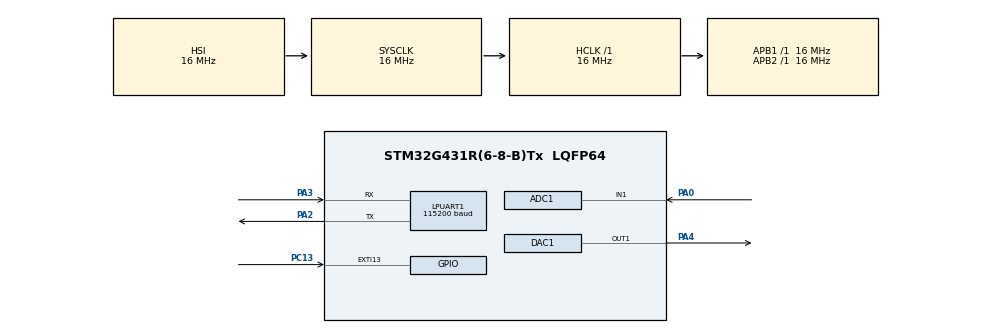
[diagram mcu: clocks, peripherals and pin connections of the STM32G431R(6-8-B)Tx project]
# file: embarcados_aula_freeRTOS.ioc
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ADC1.Channel-0\#ChannelRegularConversion=ADC_CHANNEL_1
ADC1.DMAContinuousRequests=ENABLE
ADC1.ExternalTrigConv=ADC_EXTERNALTRIG_T3_TRGO
ADC1.NbrOfConversionFlag=1
ADC1.OffsetNumber-0\#ChannelRegularConversion=ADC_OFFSET_NONE
ADC1.Rank-0\#ChannelRegularConversion=1
ADC1.SamplingTime-0\#ChannelRegularConversion=ADC_SAMPLETIME_2CYCLES_5
ADC1.master=1
DAC1.DAC_Trigger_OUT1-DAC_OUT1_ExtAndInt=DAC_TRIGGER_T2_TRGO
Dma.ADC1.0.Direction=DMA_PERIPH_TO_MEMORY
Dma.ADC1.0.EventEnable=DISABLE
Dma.ADC1.0.Instance=DMA1_Channel1
Dma.ADC1.0.MemDataAlignment=DMA_MDATAALIGN_HALFWORD
Dma.ADC1.0.MemInc=DMA_MINC_ENABLE
Dma.ADC1.0.Mode=DMA_CIRCULAR
Dma.ADC1.0.PeriphDataAlignment=DMA_PDATAALIGN_HALFWORD
Dma.ADC1.0.PeriphInc=DMA_PINC_DISABLE
Dma.ADC1.0.Polarity=HAL_DMAMUX_REQ_GEN_RISING
Dma.ADC1.0.Priority=DMA_PRIORITY_LOW
Dma.ADC1.0.RequestNumber=1
Dma.ADC1.0.SignalID=NONE
Dma.ADC1.0.SyncEnable=DISABLE
Dma.ADC1.0.SyncPolarity=HAL_DMAMUX_SYNC_NO_EVENT
Dma.ADC1.0.SyncRequestNumber=1
Dma.ADC1.0.SyncSignalID=NONE
Dma.DAC1_CH1.1.Direction=DMA_MEMORY_TO_PERIPH
Dma.DAC1_CH1.1.EventEnable=DISABLE
Dma.DAC1_CH1.1.Instance=DMA2_Channel2
Dma.DAC1_CH1.1.MemDataAlignment=DMA_MDATAALIGN_HALFWORD
Dma.DAC1_CH1.1.MemInc=DMA_MINC_ENABLE
Dma.DAC1_CH1.1.Mode=DMA_CIRCULAR
Dma.DAC1_CH1.1.PeriphDataAlignment=DMA_PDATAALIGN_WORD
Dma.DAC1_CH1.1.PeriphInc=DMA_PINC_DISABLE
Dma.DAC1_CH1.1.Polarity=HAL_DMAMUX_REQ_GEN_RISING
Dma.DAC1_CH1.1.Priority=DMA_PRIORITY_LOW
Dma.DAC1_CH1.1.RequestNumber=1
Dma.DAC1_CH1.1.SignalID=NONE
Dma.DAC1_CH1.1.SyncEnable=DISABLE
Dma.DAC1_CH1.1.SyncPolarity=HAL_DMAMUX_SYNC_NO_EVENT
Dma.DAC1_CH1.1.SyncRequestNumber=1
Dma.DAC1_CH1.1.SyncSignalID=NONE
Dma.LPUART1_TX.2.Direction=DMA_MEMORY_TO_PERIPH
Dma.LPUART1_TX.2.EventEnable=DISABLE
Dma.LPUART1_TX.2.Instance=DMA1_Channel2
Dma.LPUART1_TX.2.MemDataAlignment=DMA_MDATAALIGN_BYTE
Dma.LPUART1_TX.2.MemInc=DMA_MINC_ENABLE
Dma.LPUART1_TX.2.Mode=DMA_NORMAL
Dma.LPUART1_TX.2.PeriphDataAlignment=DMA_PDATAALIGN_BYTE
Dma.LPUART1_TX.2.PeriphInc=DMA_PINC_DISABLE
Dma.LPUART1_TX.2.Polarity=HAL_DMAMUX_REQ_GEN_RISING
Dma.LPUART1_TX.2.Priority=DMA_PRIORITY_LOW
Dma.LPUART1_TX.2.RequestNumber=1
Dma.LPUART1_TX.2.SignalID=NONE
Dma.LPUART1_TX.2.SyncEnable=DISABLE
Dma.LPUART1_TX.2.SyncPolarity=HAL_DMAMUX_SYNC_NO_EVENT
Dma.LPUART1_TX.2.SyncRequestNumber=1
Dma.LPUART1_TX.2.SyncSignalID=NONE
Dma.Request0=ADC1
Dma.Request1=DAC1_CH1
Dma.Request2=LPUART1_TX
FREERTOS.Tasks01=defaultTask,0,256,StartDefaultTask,Default,NULL,Dynamic,NULL,NULL
FREERTOS.configENABLE_FPU=1
FREERTOS.configGENERATE_RUN_TIME_STATS=1
FREERTOS.configMAX_TASK_NAME_LEN=32
FREERTOS.configMINIMAL_STACK_SIZE=256
FREERTOS.configTOTAL_HEAP_SIZE=26000
FREERTOS.configUSE_NEWLIB_REENTRANT=1
FREERTOS.configUSE_STATS_FORMATTING_FUNCTIONS=1
FREERTOS.configUSE_TIMERS=1
FREERTOS.configUSE_TRACE_FACILITY=1
LPUART1.BaudRate=115200
Mcu.Family=STM32G4
Mcu.Name=STM32G431R(6-8-B)Tx
Mcu.Package=LQFP64
NVIC.DMA1_Channel1_IRQn=true\:5\:0\:false\:false\:true\:true\:false\:true\:true
NVIC.DMA1_Channel2_IRQn=true\:5\:0\:false\:false\:true\:true\:false\:true\:true
NVIC.DMA2_Channel2_IRQn=true\:5\:0\:false\:false\:true\:false\:false\:true\:true
NVIC.EXTI15_10_IRQn=true\:5\:0\:false\:false\:true\:true\:true\:true\:true
NVIC.LPUART1_IRQn=true\:5\:0\:false\:false\:true\:true\:true\:true\:true
NVIC.PriorityGroup=NVIC_PRIORITYGROUP_4
NVIC.TIM1_UP_TIM16_IRQn=true\:15\:0\:false\:false\:true\:false\:false\:true\:true
NVIC.TIM4_IRQn=true\:5\:0\:false\:false\:true\:true\:true\:true\:true
NVIC.TimeBase=TIM1_UP_TIM16_IRQn
NVIC.TimeBaseIP=TIM1
PA0.Mode=IN1-Single-Ended
PA0.Signal=ADC1_IN1
PA13.Mode=Serial_Wire
PA13.Signal=SYS_JTMS-SWDIO
PA14.Mode=Serial_Wire
PA14.Signal=SYS_JTCK-SWCLK
PA2.Mode=Asynchronous
PA2.Signal=LPUART1_TX
PA3.Mode=Asynchronous
PA3.Signal=LPUART1_RX
PA4.Signal=COMP_DAC11_group
PC13.GPIO_ModeDefaultEXTI=GPIO_MODE_IT_FALLING
PC13.GPIO_PuPd=GPIO_PULLUP
PC13.Signal=GPXTI13
ProjectManager.HeapSize=0x200
ProjectManager.StackSize=0x400
ProjectManager.TargetToolchain=STM32CubeIDE
RCC.AHBFreq_Value=16000000
RCC.APB1Freq_Value=16000000
RCC.APB1TimFreq_Value=16000000
RCC.APB2Freq_Value=16000000
RCC.APB2TimFreq_Value=16000000
RCC.CortexFreq_Value=16000000
RCC.EXTERNAL_CLOCK_VALUE=12288000
RCC.HCLKFreq_Value=16000000
RCC.HSE_VALUE=8000000
RCC.HSI48_VALUE=48000000
RCC.HSI_VALUE=16000000
RCC.LSE_VALUE=32768
RCC.SYSCLKFreq_VALUE=16000000
RCC.USBFreq_Value=64000000
RCC.VCOOutputFreq_Value=128000000
SH.COMP_DAC11_group.0=DAC1_OUT1,DAC_OUT1_ExtAndInt
TIM2.AutoReloadPreload=TIM_AUTORELOAD_PRELOAD_ENABLE
TIM2.PeriodNoDither=11067
TIM2.TIM_MasterOutputTrigger=TIM_TRGO_UPDATE
TIM3.AutoReloadPreload=TIM_AUTORELOAD_PRELOAD_ENABLE
TIM3.PeriodNoDither=11067
TIM3.TIM_MasterOutputTrigger=TIM_TRGO_UPDATE
TIM4.AutoReloadPreload=TIM_AUTORELOAD_PRELOAD_ENABLE
TIM4.PeriodNoDither=16999
TIM4.TIM_MasterOutputTrigger=TIM_TRGO_UPDATE
VP_FREERTOS_VS_CMSIS_V1.Mode=CMSIS_V1
VP_SYS_VS_DBSignals.Mode=DisableDeadBatterySignals
VP_SYS_VS_tim1.Mode=TIM1
VP_TIM2_VS_ClockSourceINT.Mode=Internal
VP_TIM3_VS_ClockSourceINT.Mode=Internal
VP_TIM4_VS_ClockSourceINT.Mode=Internal
board=custom

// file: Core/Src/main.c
/* USER CODE BEGIN Header */
/**
 ******************************************************************************
 * @file           : main.c
 * @brief          : Main program body
 ******************************************************************************
 * @attention
 *
 * Copyright (c) 2024 STMicroelectronics.
 * All rights reserved.
 *
 * This software is licensed under terms that can be found in the LICENSE file
 * in the root directory of this software component.
 * If no LICENSE file comes with this software, it is provided AS-IS.
 *
 ******************************************************************************
 */
/* USER CODE END Header */
#include "main.h"
#include "cmsis_os.h"

/* USER CODE BEGIN Includes */
#include "FreeRTOS_CLI.h"
#include "arm_const_structs.h"
#include "cmsis_os.h"
#include "main.h"
#include "message_buffer.h"

/* USER CODE END Includes */

ADC_HandleTypeDef hadc1;
DMA_HandleTypeDef hdma_adc1;

DAC_HandleTypeDef hdac1;
DMA_HandleTypeDef hdma_dac1_ch1;

UART_HandleTypeDef hlpuart1;
DMA_HandleTypeDef hdma_lpuart1_tx;

TIM_HandleTypeDef htim2;
TIM_HandleTypeDef htim3;
TIM_HandleTypeDef htim4;

osThreadId defaultTaskHandle;
/* USER CODE BEGIN PV */

SemaphoreHandle_t mutex_uart;
MessageBufferHandle_t message_buffer;
SemaphoreHandle_t sem_tx_uart;
SemaphoreHandle_t sem_adc;
QueueHandle_t uart_rx_q;
QueueHandle_t button_rx_q;
TimerHandle_t button_timer;

uint16_t sin_wave[256] = {
    2048, 2098, 2148, 2199, 2249, 2299, 2349, 2399, 2448, 2498, 2547, 2596,
    2644, 2692, 2740, 2787, 2834, 2880, 2926, 2971, 3016, 3060, 3104, 3147,
    3189, 3230, 3271, 3311, 3351, 3389, 3427, 3464, 3500, 3535, 3569, 3602,
    3635, 3666, 3697, 3726, 3754, 3782, 3808, 3833, 3857, 3880, 3902, 3923,
    3943, 3961, 3979, 3995, 4010, 4024, 4036, 4048, 4058, 4067, 4074, 4081,
    4086, 4090, 4093, 4095, 4095, 4094, 4092, 4088, 4084, 4078, 4071, 4062,
    4053, 4042, 4030, 4017, 4002, 3987, 3970, 3952, 3933, 3913, 3891, 3869,
    3845, 3821, 3795, 3768, 3740, 3711, 3681, 3651, 3619, 3586, 3552, 3517,
    3482, 3445, 3408, 3370, 3331, 3291, 3251, 3210, 3168, 3125, 3082, 3038,
    2994, 2949, 2903, 2857, 2811, 2764, 2716, 2668, 2620, 2571, 2522, 2473,
    2424, 2374, 2324, 2274, 2224, 2174, 2123, 2073, 2022, 1972, 1921, 1871,
    1821, 1771, 1721, 1671, 1622, 1573, 1524, 1475, 1427, 1379, 1331, 1284,
    1238, 1192, 1146, 1101, 1057, 1013, 970,  927,  885,  844,  804,  764,
    725,  687,  650,  613,  578,  543,  509,  476,  444,  414,  384,  355,
    327,  300,  274,  250,  226,  204,  182,  162,  143,  125,  108,  93,
    78,   65,   53,   42,   33,   24,   17,   11,   7,    3,    1,    0,
    0,    2,    5,    9,    14,   21,   28,   37,   47,   59,   71,   85,
    100,  116,  134,  152,  172,  193,  215,  238,  262,  287,  313,  341,
    369,  398,  429,  460,  493,  526,  560,  595,  631,  668,  706,  744,
    784,  824,  865,  906,  948,  991,  1035, 1079, 1124, 1169, 1215, 1261,
    1308, 1355, 1403, 1451, 1499, 1548, 1597, 1647, 1696, 1746, 1796, 1846,
    1896, 1947, 1997, 2047};

uint16_t sin_wave_3rd_harmonic[256] = {
    2048, 2136, 2224, 2311, 2398, 2484, 2569, 2652, 2734, 2814, 2892, 2968,
    3041, 3112, 3180, 3245, 3308, 3367, 3423, 3476, 3526, 3572, 3615, 3654,
    3690, 3723, 3752, 3778, 3800, 3819, 3835, 3848, 3858, 3866, 3870, 3872,
    3871, 3869, 3864, 3857, 3848, 3838, 3827, 3814, 3801, 3786, 3771, 3756,
    3740, 3725, 3709, 3694, 3679, 3665, 3652, 3639, 3628, 3617, 3608, 3600,
    3594, 3589, 3585, 3584, 3583, 3584, 3587, 3591, 3597, 3604, 3613, 3622,
    3633, 3645, 3658, 3672, 3686, 3701, 3717, 3732, 3748, 3764, 3779, 3794,
    3808, 3821, 3833, 3844, 3853, 3860, 3866, 3870, 3872, 3871, 3868, 3862,
    3854, 3842, 3828, 3810, 3789, 3765, 3738, 3707, 3673, 3635, 3594, 3549,
    3501, 3450, 3396, 3338, 3277, 3213, 3146, 3077, 3005, 2930, 2853, 2774,
    2693, 2611, 2527, 2441, 2355, 2268, 2180, 2092, 2003, 1915, 1827, 1740,
    1654, 1568, 1484, 1402, 1321, 1242, 1165, 1090, 1018, 949,  882,  818,
    757,  699,  645,  594,  546,  501,  460,  422,  388,  357,  330,  306,
    285,  267,  253,  241,  233,  227,  224,  223,  225,  229,  235,  242,
    251,  262,  274,  287,  301,  316,  331,  347,  363,  378,  394,  409,
    423,  437,  450,  462,  473,  482,  491,  498,  504,  508,  511,  512,
    511,  510,  506,  501,  495,  487,  478,  467,  456,  443,  430,  416,
    401,  386,  370,  355,  339,  324,  309,  294,  281,  268,  257,  247,
    238,  231,  226,  224,  223,  225,  229,  237,  247,  260,  276,  295,
    317,  343,  372,  405,  441,  480,  523,  569,  619,  672,  728,  787,
    850,  915,  983,  1054, 1127, 1203, 1281, 1361, 1443, 1526, 1611, 1697,
    1784, 1871, 1959, 2047};

/* USER CODE END PV */

void SystemClock_Config(void);
static void MX_GPIO_Init(void);
static void MX_DMA_Init(void);
static void MX_ADC1_Init(void);
static void MX_TIM3_Init(void);
static void MX_DAC1_Init(void);
static void MX_TIM2_Init(void);
static void MX_LPUART1_UART_Init(void);
static void MX_TIM4_Init(void);
void StartDefaultTask(void const * argument);

/* USER CODE BEGIN 0 */

void HAL_GPIO_EXTI_Callback(uint16_t GPIO_Pin){
	HAL_NVIC_DisableIRQ(EXTI15_10_IRQn);
	portBASE_TYPE pxHigherPriorityTaskWoken = pdFALSE;
	xTimerStartFromISR(button_timer, &pxHigherPriorityTaskWoken);
	portYIELD_FROM_ISR(pxHigherPriorityTaskWoken);
}

char uart_data;
void HAL_UART_RxCpltCallback(UART_HandleTypeDef *huart) {
    portBASE_TYPE pxHigherPriorityTaskWoken = pdFALSE;
    char data = huart->Instance->RDR;
    xQueueSendFromISR(uart_rx_q, &data, &pxHigherPriorityTaskWoken);
    portYIELD_FROM_ISR(pxHigherPriorityTaskWoken);
}

void HAL_UART_TxCpltCallback(UART_HandleTypeDef *huart) {
    BaseType_t pxHigherPriorityTaskWoken = pdFALSE;
    xSemaphoreGiveFromISR(sem_tx_uart, &pxHigherPriorityTaskWoken);
    portYIELD_FROM_ISR(pxHigherPriorityTaskWoken);
}

// Antiga UART_RX_RTOS - Retorna os dados recebidos pela UART
BaseType_t get_char_from_uart(char *pData, TickType_t timeout) {
    return xQueueReceive(uart_rx_q, pData, timeout);
}

void print_string(char *string, TickType_t timeout) {
    if (xSemaphoreTake(mutex_uart, timeout) == pdTRUE) {
        (void)xMessageBufferSend(message_buffer, string, strlen(string),
                                 portMAX_DELAY);
        xSemaphoreGive(mutex_uart);
    }
}

void print_char(char string, TickType_t timeout) {
    if (xSemaphoreTake(mutex_uart, timeout) == pdTRUE) {
        (void)xMessageBufferSend(message_buffer, &string, 1, portMAX_DELAY);
        xSemaphoreGive(mutex_uart);
    }
}

#define BUFFER_SIZE 512

static void print_task(void *params) {
    char buffer[BUFFER_SIZE];

    while (1) {
        size_t size = xMessageBufferReceive(message_buffer, buffer, BUFFER_SIZE,
                                            portMAX_DELAY);
        if (size) {
            HAL_UART_Transmit_DMA(&hlpuart1, (uint8_t *)buffer, size);
            xSemaphoreTake(sem_tx_uart, portMAX_DELAY);
        }
    }
}

#define ADC_BUFFER_LENGTH 256

void adc_task(void *param) {
    uint16_t adcBuffer[ADC_BUFFER_LENGTH];
    float ReIm[ADC_BUFFER_LENGTH * 2];
    float mod[ADC_BUFFER_LENGTH];

    HAL_ADC_Start_DMA(&hadc1, (uint32_t *)adcBuffer, ADC_BUFFER_LENGTH);
    HAL_DAC_Start_DMA(&hdac1, DAC_CHANNEL_1,
                      (const uint32_t *)sin_wave_3rd_harmonic,
                      ADC_BUFFER_LENGTH, DAC_ALIGN_12B_R);

    HAL_TIM_Base_Start(&htim2);
    HAL_TIM_Base_Start(&htim3);

    while (1) {
        xSemaphoreTake(sem_adc, portMAX_DELAY);

        int k = 0;
        for (int i = 0; i < ADC_BUFFER_LENGTH; i++) {
            ReIm[k] = (float)adcBuffer[i] * 0.0008056640625f;
            ReIm[k + 1] = 0.0;
            k += 2;
        }

        arm_cfft_f32(&arm_cfft_sR_f32_len256, ReIm, 0, 1);
        arm_cmplx_mag_f32(ReIm, mod, ADC_BUFFER_LENGTH);
        arm_scale_f32(mod, 0.0078125, mod, ADC_BUFFER_LENGTH);
        mod[0] = mod[0] * 0.5;

        volatile float fund_phase = atan2f(ReIm[3], ReIm[2]) * 180 /
                                    M_PI;  // Fase R da harmonica fundamental
    }
}

void HAL_ADC_ConvCpltCallback(ADC_HandleTypeDef *hadc) {
    portBASE_TYPE pxHigherPriorityTaskWoken = pdFALSE;
    xSemaphoreGiveFromISR(sem_adc, &pxHigherPriorityTaskWoken);
    portYIELD_FROM_ISR(pxHigherPriorityTaskWoken);
}

volatile int dac_counter = 0;
volatile int flag = 0;
void HAL_DAC_ConvCpltCallbackCh1(DAC_HandleTypeDef *hadc) {
#if 1
    dac_counter++;
    if (dac_counter >= 120) {
        dac_counter = 0;
        HAL_TIM_Base_Stop(&htim2);
        HAL_DAC_Stop_DMA(&hdac1, DAC_CHANNEL_1);

        if (flag == 0) {
            HAL_DAC_Start_DMA(&hdac1, DAC_CHANNEL_1,
                              (uint32_t *)sin_wave_3rd_harmonic, 256,
                              DAC_ALIGN_12B_R);
            flag = 1;
        } else {
            HAL_DAC_Start_DMA(&hdac1, DAC_CHANNEL_1, (uint32_t *)sin_wave, 256,
                              DAC_ALIGN_12B_R);
            flag = 0;
        }
        HAL_TIM_Base_Start(&htim2);
    }
#endif
}

/* ---------------- Get Installed Tasks ---------------- */

static BaseType_t getInstalledTasksFunction(char *pcWriteBuffer,
                                            size_t xWriteBufferLen,
                                            const char *pcCommandString) {
    static const char *pcHeader =
        "Task                         State  Priority   Stack  "
        "Number\r\n------------------------------------------------------------"
        "--\r\n ";

    strcpy(pcWriteBuffer, pcHeader);
    vTaskList(pcWriteBuffer + strlen(pcHeader));
    return pdFALSE;
}

static const CLI_Command_Definition_t xGetInstalledTasksCommand = {
    "tasks", "tasks: list all tasks\n\n\r", getInstalledTasksFunction, 0};

/* ---------------- Get Runtime Info ---------------- */

static BaseType_t getRuntimeStatsFunction(char *pcWriteBuffer,
                                          size_t xWriteBufferLen,
                                          const char *pcCommandString) {
    static const char *pcHeader =
        "Task                          Abs Time          % Time "
        "\r\n----------------------------------------------------------"
        "\r\n";
    strcpy(pcWriteBuffer, pcHeader);
    vTaskGetRunTimeStats(pcWriteBuffer + strlen(pcHeader));
    return pdFALSE;
}

static const CLI_Command_Definition_t xGetRuntimeCommand = {
    "runtime", "runtime: Show the runtime info\n\n\r", getRuntimeStatsFunction,
    0};

/* ---------------- Change Sin Wave ---------------- */
uint16_t sin_wave[256];
uint16_t sin_wave_3rd_harmonic[256];
static BaseType_t changeWaveFunction(char *pcWriteBuffer,
                                     size_t xWriteBufferLen,
                                     const char *pcCommandString) {
    BaseType_t parameter_lenght;
    const char *parameter =
        FreeRTOS_CLIGetParameter(pcCommandString, 1, &parameter_lenght);

    if (!strcmp(parameter, "sine")) {
        HAL_TIM_Base_Stop(&htim2);
        HAL_DAC_Stop_DMA(&hdac1, DAC_CHANNEL_1);
        HAL_DAC_Start_DMA(&hdac1, DAC_CHANNEL_1, (uint32_t *)sin_wave, 256,
                          DAC_ALIGN_12B_R);
        HAL_TIM_Base_Start(&htim2);
        strcpy(pcWriteBuffer, "Sine Signal set\n\r");
    } else if (!strcmp(parameter, "sine3rd")) {
        HAL_TIM_Base_Stop(&htim2);
        HAL_DAC_Stop_DMA(&hdac1, DAC_CHANNEL_1);
        HAL_DAC_Start_DMA(&hdac1, DAC_CHANNEL_1,
                          (uint32_t *)sin_wave_3rd_harmonic, 256,
                          DAC_ALIGN_12B_R);
        HAL_TIM_Base_Start(&htim2);
        strcpy(pcWriteBuffer, "Sine3rd Signal set\n\r");
    } else {
        strcpy(pcWriteBuffer, "Invalid wave signal!\n\r");
    }
    return pdFALSE;
}

static const CLI_Command_Definition_t xChangeWaveCommand = {
    "wave", "wave: Changes the DAC wave signal (params: sine | sine3rd)\n\n\r",
    changeWaveFunction, 1};

/* ---------------- Clear Terminal ---------------- */

static BaseType_t clearTerminalFunction(char *pcWriteBuffer,
                                        size_t xWriteBufferLen,
                                        const char *pcCommandString) {
    strcpy(pcWriteBuffer, "\033[H\033[J\n\r");
    return pdFALSE;
}

static const CLI_Command_Definition_t xClearTerminalCommand = {
    "clear", "clear: Clear the terminal\n\n\r", clearTerminalFunction, 0};

/* ---------------- Terminal Task ---------------- */

#define MAX_INPUT_LENGTH 50
#define MAX_OUTPUT_LENGTH 512

void terminal_task(void *params) {
    int8_t cRxedChar, cInputIndex = 0;
    BaseType_t xMoreDataToFollow;

    /* Buffers de entrada e saída */
    int8_t pcInputString[MAX_INPUT_LENGTH];
    int8_t pcOutputString[MAX_OUTPUT_LENGTH];
    memset(pcInputString, 0x00, MAX_INPUT_LENGTH);

    FreeRTOS_CLIRegisterCommand(&xGetInstalledTasksCommand);
    FreeRTOS_CLIRegisterCommand(&xGetRuntimeCommand);
    FreeRTOS_CLIRegisterCommand(&xChangeWaveCommand);
    FreeRTOS_CLIRegisterCommand(&xClearTerminalCommand);

    print_string("----- FreeRTOS Terminal -----\r\n\n", portMAX_DELAY);

    /* Recepção de 1byte pela uart */
    HAL_UART_Receive_IT(&hlpuart1, (uint8_t *)&uart_data, 1);
    hlpuart1.RxISR = HAL_UART_RxCpltCallback;

    while (1) {
        // Espera indefinidamente por um caractere
        get_char_from_uart(&cRxedChar, portMAX_DELAY);

        if (cRxedChar == '\r') {
            /* Tecla "Enter" seja pressionada */
            print_string("\r\n", portMAX_DELAY);

            /* Execução do comando inserido ao pressionar enter: */
            do {
                xMoreDataToFollow = FreeRTOS_CLIProcessCommand(
                    pcInputString,    /* string do comando.*/
                    pcOutputString,   /* buffer de saída. */
                    MAX_OUTPUT_LENGTH /* Tamanho do buffer de saída. */
                );

                print_string(pcOutputString, portMAX_DELAY);
            } while (xMoreDataToFollow != pdFALSE);

            /* Limpa a string de entrada */
            cInputIndex = 0;
            memset(pcInputString, 0x00, MAX_INPUT_LENGTH);

        } else {
            if (cRxedChar == '\n') {
                // Ignora o \n
            } else if (cRxedChar == '\b' || cRxedChar == 127) {
                /* Tratamento do backspace */
                if (cInputIndex > 0) {
                    cInputIndex--;
                    pcInputString[cInputIndex] = '\0';
                    print_char(cRxedChar, portMAX_DELAY);
                }
            } else {
                // Adiciona o caractere na string de entrada
                if (cInputIndex < MAX_INPUT_LENGTH) {
                    pcInputString[cInputIndex] = cRxedChar;
                    cInputIndex++;
                }
                print_char(cRxedChar, portMAX_DELAY);
            }
        }
    }
}

#define BUTTON_0 GPIO_PIN_13

BaseType_t get_button(uint16_t *button, TickType_t timeout) {
	return xQueueReceive(button_rx_q, button, timeout);
}

static void keyboard_task(void *param) {
    uint16_t button;
    char buffer[MAX_OUTPUT_LENGTH];

    while (1) {
        (void)get_button(&button, portMAX_DELAY);
        if (button == BUTTON_0) {
            clearTerminalFunction(buffer, MAX_OUTPUT_LENGTH, "clear");
            print_string(buffer, portMAX_DELAY);
        }
    }
}

void button_callback(TimerHandle_t xTimer) {
    (void)xTimer;
    uint16_t button_id = BUTTON_0;
    if (HAL_GPIO_ReadPin(GPIOC, BUTTON_0) == GPIO_PIN_SET) {
        xQueueSend(button_rx_q, &button_id, 0);
    }
    HAL_NVIC_EnableIRQ(EXTI15_10_IRQn);
}

/* USER CODE END 0 */

int main(void)
{

  /* MCU Configuration--------------------------------------------------------*/

  /* Reset of all peripherals, Initializes the Flash interface and the Systick. */
  HAL_Init();

  /* Configure the system clock */
  SystemClock_Config();

  /* Initialize all configured peripherals */
  MX_GPIO_Init();
  MX_DMA_Init();
  MX_ADC1_Init();
  MX_TIM3_Init();
  MX_DAC1_Init();
  MX_TIM2_Init();
  MX_LPUART1_UART_Init();
  MX_TIM4_Init();

  /* USER CODE BEGIN RTOS_MUTEX */
    mutex_uart = xSemaphoreCreateMutex();

  /* USER CODE END RTOS_MUTEX */

  /* USER CODE BEGIN RTOS_SEMAPHORES */
    /* add semaphores, ... */

    sem_tx_uart = xSemaphoreCreateBinary();
    sem_adc = xSemaphoreCreateBinary();

  /* USER CODE END RTOS_SEMAPHORES */

  /* USER CODE BEGIN RTOS_TIMERS */

    button_timer = xTimerCreate("Button Timer", pdMS_TO_TICKS(50), pdFALSE,
                                NULL, button_callback);

  /* USER CODE END RTOS_TIMERS */

  /* USER CODE BEGIN RTOS_QUEUES */
    /* add queues, ... */

    message_buffer = xMessageBufferCreate(BUFFER_SIZE);
    uart_rx_q = xQueueCreate(32, sizeof(char));
    button_rx_q = xQueueCreate(128, sizeof(uint16_t));
  /* USER CODE END RTOS_QUEUES */

  /* Create the thread(s) */
  /* definition and creation of defaultTask */
  //osThreadDef(defaultTask, StartDefaultTask, osPriorityNormal, 0, 256);
  //defaultTaskHandle = osThreadCreate(osThread(defaultTask), NULL);

  /* USER CODE BEGIN RTOS_THREADS */

    (void)xTaskCreate(terminal_task, "Console", 512, NULL, 3, NULL);
    (void)xTaskCreate(print_task, "Print Task", 512, NULL, 2, NULL);
    (void)xTaskCreate(keyboard_task, "Keyboard Task", 256, NULL, 2, NULL);
    (void)xTaskCreate(adc_task, "ADC", 2048, NULL, 6, NULL);

  /* USER CODE END RTOS_THREADS */

  /* Start scheduler */
  osKernelStart();

  /* We should never get here as control is now taken by the scheduler */

  /* Infinite loop */
    while (1) {

    }
}

void SystemClock_Config(void)
{
  RCC_OscInitTypeDef RCC_OscInitStruct = {0};
  RCC_ClkInitTypeDef RCC_ClkInitStruct = {0};

  /** Configure the main internal regulator output voltage
  */
  HAL_PWREx_ControlVoltageScaling(PWR_REGULATOR_VOLTAGE_SCALE1);

  /** Initializes the RCC Oscillators according to the specified parameters
  * in the RCC_OscInitTypeDef structure.
  */
  RCC_OscInitStruct.OscillatorType = RCC_OSCILLATORTYPE_HSI;
  RCC_OscInitStruct.HSIState = RCC_HSI_ON;
  RCC_OscInitStruct.HSICalibrationValue = RCC_HSICALIBRATION_DEFAULT;
  RCC_OscInitStruct.PLL.PLLState = RCC_PLL_NONE;
  if (HAL_RCC_OscConfig(&RCC_OscInitStruct) != HAL_OK)
  {
    Error_Handler();
  }

  /** Initializes the CPU, AHB and APB buses clocks
  */
  RCC_ClkInitStruct.ClockType = RCC_CLOCKTYPE_HCLK|RCC_CLOCKTYPE_SYSCLK
                              |RCC_CLOCKTYPE_PCLK1|RCC_CLOCKTYPE_PCLK2;
  RCC_ClkInitStruct.SYSCLKSource = RCC_SYSCLKSOURCE_HSI;
  RCC_ClkInitStruct.AHBCLKDivider = RCC_SYSCLK_DIV1;
  RCC_ClkInitStruct.APB1CLKDivider = RCC_HCLK_DIV1;
  RCC_ClkInitStruct.APB2CLKDivider = RCC_HCLK_DIV1;

  if (HAL_RCC_ClockConfig(&RCC_ClkInitStruct, FLASH_LATENCY_0) != HAL_OK)
  {
    Error_Handler();
  }
}

static void MX_ADC1_Init(void)
{

  ADC_MultiModeTypeDef multimode = {0};
  ADC_ChannelConfTypeDef sConfig = {0};

  /** Common config
  */
  hadc1.Instance = ADC1;
  hadc1.Init.ClockPrescaler = ADC_CLOCK_SYNC_PCLK_DIV2;
  hadc1.Init.Resolution = ADC_RESOLUTION_12B;
  hadc1.Init.DataAlign = ADC_DATAALIGN_RIGHT;
  hadc1.Init.GainCompensation = 0;
  hadc1.Init.ScanConvMode = ADC_SCAN_DISABLE;
  hadc1.Init.EOCSelection = ADC_EOC_SINGLE_CONV;
  hadc1.Init.LowPowerAutoWait = DISABLE;
  hadc1.Init.ContinuousConvMode = DISABLE;
  hadc1.Init.NbrOfConversion = 1;
  hadc1.Init.DiscontinuousConvMode = DISABLE;
  hadc1.Init.ExternalTrigConv = ADC_EXTERNALTRIG_T3_TRGO;
  hadc1.Init.ExternalTrigConvEdge = ADC_EXTERNALTRIGCONVEDGE_RISING;
  hadc1.Init.DMAContinuousRequests = ENABLE;
  hadc1.Init.Overrun = ADC_OVR_DATA_PRESERVED;
  hadc1.Init.OversamplingMode = DISABLE;
  if (HAL_ADC_Init(&hadc1) != HAL_OK)
  {
    Error_Handler();
  }

  /** Configure the ADC multi-mode
  */
  multimode.Mode = ADC_MODE_INDEPENDENT;
  if (HAL_ADCEx_MultiModeConfigChannel(&hadc1, &multimode) != HAL_OK)
  {
    Error_Handler();
  }

  /** Configure Regular Channel
  */
  sConfig.Channel = ADC_CHANNEL_1;
  sConfig.Rank = ADC_REGULAR_RANK_1;
  sConfig.SamplingTime = ADC_SAMPLETIME_2CYCLES_5;
  sConfig.SingleDiff = ADC_SINGLE_ENDED;
  sConfig.OffsetNumber = ADC_OFFSET_NONE;
  sConfig.Offset = 0;
  if (HAL_ADC_ConfigChannel(&hadc1, &sConfig) != HAL_OK)
  {
    Error_Handler();
  }

}

static void MX_DAC1_Init(void)
{

  DAC_ChannelConfTypeDef sConfig = {0};

  /** DAC Initialization
  */
  hdac1.Instance = DAC1;
  if (HAL_DAC_Init(&hdac1) != HAL_OK)
  {
    Error_Handler();
  }

  /** DAC channel OUT1 config
  */
  sConfig.DAC_HighFrequency = DAC_HIGH_FREQUENCY_INTERFACE_MODE_AUTOMATIC;
  sConfig.DAC_DMADoubleDataMode = DISABLE;
  sConfig.DAC_SignedFormat = DISABLE;
  sConfig.DAC_SampleAndHold = DAC_SAMPLEANDHOLD_DISABLE;
  sConfig.DAC_Trigger = DAC_TRIGGER_T2_TRGO;
  sConfig.DAC_Trigger2 = DAC_TRIGGER_NONE;
  sConfig.DAC_OutputBuffer = DAC_OUTPUTBUFFER_ENABLE;
  sConfig.DAC_ConnectOnChipPeripheral = DAC_CHIPCONNECT_BOTH;
  sConfig.DAC_UserTrimming = DAC_TRIMMING_FACTORY;
  if (HAL_DAC_ConfigChannel(&hdac1, &sConfig, DAC_CHANNEL_1) != HAL_OK)
  {
    Error_Handler();
  }

}

static void MX_LPUART1_UART_Init(void)
{

  hlpuart1.Instance = LPUART1;
  hlpuart1.Init.BaudRate = 115200;
  hlpuart1.Init.WordLength = UART_WORDLENGTH_8B;
  hlpuart1.Init.StopBits = UART_STOPBITS_1;
  hlpuart1.Init.Parity = UART_PARITY_NONE;
  hlpuart1.Init.Mode = UART_MODE_TX_RX;
  hlpuart1.Init.HwFlowCtl = UART_HWCONTROL_NONE;
  hlpuart1.Init.OneBitSampling = UART_ONE_BIT_SAMPLE_DISABLE;
  hlpuart1.Init.ClockPrescaler = UART_PRESCALER_DIV1;
  hlpuart1.AdvancedInit.AdvFeatureInit = UART_ADVFEATURE_NO_INIT;
  if (HAL_UART_Init(&hlpuart1) != HAL_OK)
  {
    Error_Handler();
  }
  if (HAL_UARTEx_SetTxFifoThreshold(&hlpuart1, UART_TXFIFO_THRESHOLD_1_8) != HAL_OK)
  {
    Error_Handler();
  }
  if (HAL_UARTEx_SetRxFifoThreshold(&hlpuart1, UART_RXFIFO_THRESHOLD_1_8) != HAL_OK)
  {
    Error_Handler();
  }
  if (HAL_UARTEx_DisableFifoMode(&hlpuart1) != HAL_OK)
  {
    Error_Handler();
  }

}

static void MX_TIM2_Init(void)
{

  TIM_ClockConfigTypeDef sClockSourceConfig = {0};
  TIM_MasterConfigTypeDef sMasterConfig = {0};

  htim2.Instance = TIM2;
  htim2.Init.Prescaler = 0;
  htim2.Init.CounterMode = TIM_COUNTERMODE_UP;
  htim2.Init.Period = 11067;
  htim2.Init.ClockDivision = TIM_CLOCKDIVISION_DIV1;
  htim2.Init.AutoReloadPreload = TIM_AUTORELOAD_PRELOAD_ENABLE;
  if (HAL_TIM_Base_Init(&htim2) != HAL_OK)
  {
    Error_Handler();
  }
  sClockSourceConfig.ClockSource = TIM_CLOCKSOURCE_INTERNAL;
  if (HAL_TIM_ConfigClockSource(&htim2, &sClockSourceConfig) != HAL_OK)
  {
    Error_Handler();
  }
  sMasterConfig.MasterOutputTrigger = TIM_TRGO_UPDATE;
  sMasterConfig.MasterSlaveMode = TIM_MASTERSLAVEMODE_DISABLE;
  if (HAL_TIMEx_MasterConfigSynchronization(&htim2, &sMasterConfig) != HAL_OK)
  {
    Error_Handler();
  }

}

static void MX_TIM3_Init(void)
{

  TIM_ClockConfigTypeDef sClockSourceConfig = {0};
  TIM_MasterConfigTypeDef sMasterConfig = {0};

  htim3.Instance = TIM3;
  htim3.Init.Prescaler = 0;
  htim3.Init.CounterMode = TIM_COUNTERMODE_UP;
  htim3.Init.Period = 11067;
  htim3.Init.ClockDivision = TIM_CLOCKDIVISION_DIV1;
  htim3.Init.AutoReloadPreload = TIM_AUTORELOAD_PRELOAD_ENABLE;
  if (HAL_TIM_Base_Init(&htim3) != HAL_OK)
  {
    Error_Handler();
  }
  sClockSourceConfig.ClockSource = TIM_CLOCKSOURCE_INTERNAL;
  if (HAL_TIM_ConfigClockSource(&htim3, &sClockSourceConfig) != HAL_OK)
  {
    Error_Handler();
  }
  sMasterConfig.MasterOutputTrigger = TIM_TRGO_UPDATE;
  sMasterConfig.MasterSlaveMode = TIM_MASTERSLAVEMODE_DISABLE;
  if (HAL_TIMEx_MasterConfigSynchronization(&htim3, &sMasterConfig) != HAL_OK)
  {
    Error_Handler();
  }

}

static void MX_TIM4_Init(void)
{

  TIM_ClockConfigTypeDef sClockSourceConfig = {0};
  TIM_MasterConfigTypeDef sMasterConfig = {0};

  htim4.Instance = TIM4;
  htim4.Init.Prescaler = 0;
  htim4.Init.CounterMode = TIM_COUNTERMODE_UP;
  htim4.Init.Period = 16999;
  htim4.Init.ClockDivision = TIM_CLOCKDIVISION_DIV1;
  htim4.Init.AutoReloadPreload = TIM_AUTORELOAD_PRELOAD_ENABLE;
  if (HAL_TIM_Base_Init(&htim4) != HAL_OK)
  {
    Error_Handler();
  }
  sClockSourceConfig.ClockSource = TIM_CLOCKSOURCE_INTERNAL;
  if (HAL_TIM_ConfigClockSource(&htim4, &sClockSourceConfig) != HAL_OK)
  {
    Error_Handler();
  }
  sMasterConfig.MasterOutputTrigger = TIM_TRGO_UPDATE;
  sMasterConfig.MasterSlaveMode = TIM_MASTERSLAVEMODE_DISABLE;
  if (HAL_TIMEx_MasterConfigSynchronization(&htim4, &sMasterConfig) != HAL_OK)
  {
    Error_Handler();
  }

}

static void MX_DMA_Init(void)
{

  /* DMA controller clock enable */
  __HAL_RCC_DMAMUX1_CLK_ENABLE();
  __HAL_RCC_DMA1_CLK_ENABLE();
  __HAL_RCC_DMA2_CLK_ENABLE();

  /* DMA interrupt init */
  /* DMA1_Channel1_IRQn interrupt configuration */
  HAL_NVIC_SetPriority(DMA1_Channel1_IRQn, 5, 0);
  HAL_NVIC_EnableIRQ(DMA1_Channel1_IRQn);
  /* DMA1_Channel2_IRQn interrupt configuration */
  HAL_NVIC_SetPriority(DMA1_Channel2_IRQn, 5, 0);
  HAL_NVIC_EnableIRQ(DMA1_Channel2_IRQn);
  /* DMA2_Channel2_IRQn interrupt configuration */
  HAL_NVIC_SetPriority(DMA2_Channel2_IRQn, 5, 0);
  HAL_NVIC_EnableIRQ(DMA2_Channel2_IRQn);

}

static void MX_GPIO_Init(void)
{
  GPIO_InitTypeDef GPIO_InitStruct = {0};

  /* GPIO Ports Clock Enable */
  __HAL_RCC_GPIOC_CLK_ENABLE();
  __HAL_RCC_GPIOA_CLK_ENABLE();

  /*Configure GPIO pin : PC13 */
  GPIO_InitStruct.Pin = GPIO_PIN_13;
  GPIO_InitStruct.Mode = GPIO_MODE_IT_RISING;
  GPIO_InitStruct.Pull = GPIO_PULLDOWN;
  HAL_GPIO_Init(GPIOC, &GPIO_InitStruct);

  /* EXTI interrupt init*/
  HAL_NVIC_SetPriority(EXTI15_10_IRQn, 5, 0);
  HAL_NVIC_EnableIRQ(EXTI15_10_IRQn);

}

/* USER CODE BEGIN 4 */
extern unsigned int ulHighFrequencyTimerTicks;

/* USER CODE END 4 */

void StartDefaultTask(void const * argument)
{
    for (;;) {
        osDelay(1);
    }
}

void HAL_TIM_PeriodElapsedCallback(TIM_HandleTypeDef *htim)
{
  if (htim->Instance == TIM1) {
    HAL_IncTick();
  }
  /* USER CODE BEGIN Callback 1 */
    if (htim->Instance == TIM4) {
        ulHighFrequencyTimerTicks++;
    }

  /* USER CODE END Callback 1 */
}

void Error_Handler(void)
{
  /* USER CODE BEGIN Error_Handler_Debug */
    /* User can add his own implementation to report the HAL error return state
     */
    __disable_irq();
    while (1) {
    }
  /* USER CODE END Error_Handler_Debug */
}

#ifdef  USE_FULL_ASSERT
/**
  * @brief  Reports the name of the source file and the source line number
  *         where the assert_param error has occurred.
  * @param  file: pointer to the source file name
  * @param  line: assert_param error line source number
  * @retval None
  */
void assert_failed(uint8_t *file, uint32_t line)
{
  /* USER CODE BEGIN 6 */
    /* User can add his own implementation to report the file name and line
       number, ex: printf("Wrong parameters value: file %s on line %d\r\n",
       file, line) */
  /* USER CODE END 6 */
}
#endif /* USE_FULL_ASSERT */

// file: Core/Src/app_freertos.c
/* USER CODE BEGIN Header */
/**
 ******************************************************************************
 * File Name          : app_freertos.c
 * Description        : Code for freertos applications
 ******************************************************************************
 * @attention
 *
 * Copyright (c) 2024 STMicroelectronics.
 * All rights reserved.
 *
 * This software is licensed under terms that can be found in the LICENSE file
 * in the root directory of this software component.
 * If no LICENSE file comes with this software, it is provided AS-IS.
 *
 ******************************************************************************
 */
/* USER CODE END Header */

#include "FreeRTOS.h"
#include "task.h"
#include "main.h"

/* Hook prototypes */
void configureTimerForRunTimeStats(void);
unsigned long getRunTimeCounterValue(void);

/* USER CODE BEGIN 1 */
/* Functions needed when configGENERATE_RUN_TIME_STATS is on */
extern TIM_HandleTypeDef htim4;
void configureTimerForRunTimeStats(void) {
    /* Inicia a contagem do timer */
    HAL_TIM_Base_Start_IT(&htim4);
}

unsigned int ulHighFrequencyTimerTicks = 0;
unsigned long getRunTimeCounterValue(void) {
    /* Contagem de ticks do timer */
    return ulHighFrequencyTimerTicks;
}

// __weak void configureTimerForRunTimeStats(void)
// {

// }

// __weak unsigned long getRunTimeCounterValue(void)
// {
// return 0;
// }
/* USER CODE END 1 */
